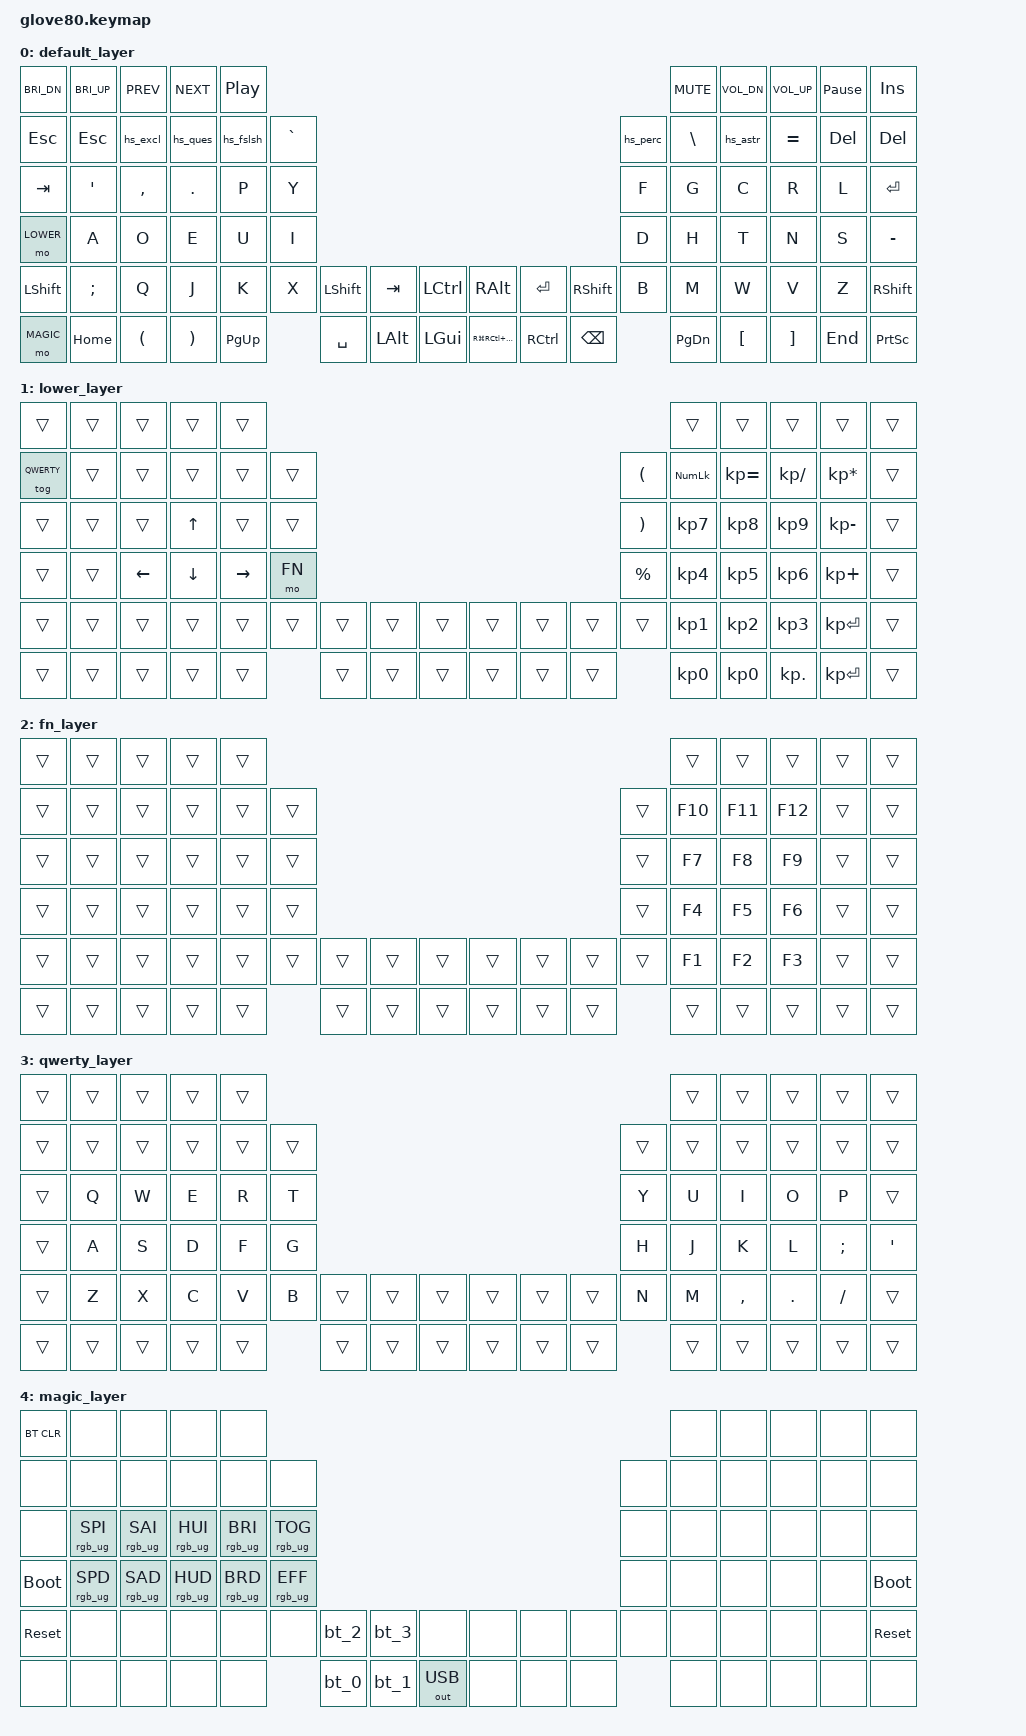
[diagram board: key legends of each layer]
/*
 * Copyright (c) 2020 The ZMK Contributors
 *
 * SPDX-License-Identifier: MIT
 */

#include <behaviors.dtsi>
#include <dt-bindings/zmk/keys.h>
#include <dt-bindings/zmk/bt.h>
#include <dt-bindings/zmk/ext_power.h>
#include <dt-bindings/zmk/outputs.h>
#include <dt-bindings/zmk/rgb.h>

// layers
#define DEFAULT 0
#define LOWER 1
#define FN 2
#define QWERTY 3
#define MAGIC 4

/ {
    behaviors {
        hs_excl: hs_exclamation_at {
            compatible = "zmk,behavior-mod-morph";
            #binding-cells = <0>;
            bindings = <&kp EXCL>, <&kp AT>;
            mods = <(MOD_LSFT|MOD_RSFT)>;
        };
        hs_ques: hs_question_dollar {
            compatible = "zmk,behavior-mod-morph";
            #binding-cells = <0>;
            bindings = <&kp QMARK>, <&kp DLLR>;
            mods = <(MOD_LSFT|MOD_RSFT)>;
        };
        hs_fslsh: hs_fslash_hash {
            compatible = "zmk,behavior-mod-morph";
            #binding-cells = <0>;
            bindings = <&kp FSLH>, <&kp HASH>;
            mods = <(MOD_LSFT|MOD_RSFT)>;
        };
        hs_perc: hs_percent_caret {
            compatible = "zmk,behavior-mod-morph";
            #binding-cells = <0>;
            bindings = <&kp PRCNT>, <&kp CARET>;
            mods = <(MOD_LSFT|MOD_RSFT)>;
        };
        hs_astr: hs_asterisk_ampersand {
            compatible = "zmk,behavior-mod-morph";
            #binding-cells = <0>;
            bindings = <&kp STAR>, <&kp AMPS>;
            mods = <(MOD_LSFT|MOD_RSFT)>;
        };
    };

    macros {
        bt_0: bt_profile_macro_0 {
            compatible = "zmk,behavior-macro";
            #binding-cells = <0>;
            bindings
                = <&out OUT_BLE>,
                  <&bt BT_SEL 0>;
        };

        bt_1: bt_profile_macro_1 {
            compatible = "zmk,behavior-macro";
            #binding-cells = <0>;
            bindings
                = <&out OUT_BLE>,
                  <&bt BT_SEL 1>;
        };

        bt_2: bt_profile_macro_2 {
            compatible = "zmk,behavior-macro";
            #binding-cells = <0>;
            bindings
                = <&out OUT_BLE>,
                  <&bt BT_SEL 2>;
        };

        bt_3: bt_profile_macro_3 {
            compatible = "zmk,behavior-macro";
            #binding-cells = <0>;
            bindings
                = <&out OUT_BLE>,
                  <&bt BT_SEL 3>;
        };
    };

    keymap {
        compatible = "zmk,keymap";

        default_layer {
            // ---------------------------------------------------------------------------------------------------------------------------------
            // | BRDN  | BRUP | PREV | NEXT | PP   |                                                               | MUTE | VLDN | VLUP | PSBK |  INS  |
            // | ESC   | ESC  | ! @  | ? $  | / #  |  `   |                                                 |  % ^ |  \   |  * & |  =   |  DEL |  DEL  |
            // | TAB   |  '   |  ,   |  .   |  P   |  Y   |                                                 |  F   |  G   |  C   |  R   |  L   |  RET  |
            // | LOWER |  A   |  O   |  E   |  U   |  I   |                                                 |  D   |  H   |  T   |  N   |  S   |  -    |
            // | LSHFT |  ;   |  Q   |  J   |  K   |  X   | LSHFT | TAB   | LCTRL | | RALT  | RET   | RSHFT |  B   |  M   |  W   |  V   |  Z   | RSHFT |
            // | MAGIC | HOME |  (   |  )   | PGUP |      | SPACE | LALT  | LGUI  | | HYPER | RCTRL | BSPC  |      | PGDN |  [   |  ]   |  END | PSCRN |

            bindings = <
            &kp C_BRI_DN  &kp C_BRI_UP  &kp C_PREV  &kp C_NEXT  &kp C_PP                                                                                            &kp C_MUTE  &kp C_VOL_DN  &kp C_VOL_UP  &kp PAUSE_BREAK  &kp INS
            &kp ESC       &kp ESC       &hs_excl    &hs_ques    &hs_fslsh  &kp GRAVE                                                                      &hs_perc  &kp BSLH    &hs_astr      &kp EQUAL     &kp DEL          &kp DEL
            &kp TAB       &kp APOS      &kp COMMA   &kp DOT     &kp P      &kp Y                                                                          &kp F     &kp G       &kp C         &kp R         &kp L            &kp RET
            &mo LOWER     &kp A         &kp O       &kp E       &kp U      &kp I                                                                          &kp D     &kp H       &kp T         &kp N         &kp S            &kp MINUS
            &kp LSHFT     &kp SEMI      &kp Q       &kp J       &kp K      &kp X  &kp LSHFT  &kp TAB   &kp LCTRL  &kp RALT          &kp RET    &kp RSHFT  &kp B     &kp M       &kp W         &kp V         &kp Z            &kp RSHFT
            &mo MAGIC     &kp HOME      &kp LPAR    &kp RPAR    &kp PG_UP         &kp SPACE  &kp LALT  &kp LGUI   &kp RG(RC(RALT))  &kp RCTRL  &kp BSPC             &kp PG_DN   &kp LBKT      &kp RBKT      &kp END          &kp PSCRN
            >;
        };

        lower_layer {
            bindings = <
            &trans       &trans  &trans    &trans    &trans                                                                        &trans      &trans        &trans         &trans           &trans
            &tog QWERTY  &trans  &trans    &trans    &trans     &trans                                                  &kp LPAR   &kp KP_NUM  &kp KP_EQUAL  &kp KP_DIVIDE  &kp KP_MULTIPLY  &trans
            &trans       &trans  &trans    &kp UP    &trans     &trans                                                  &kp RPAR   &kp KP_N7   &kp KP_N8     &kp KP_N9      &kp KP_MINUS     &trans
            &trans       &trans  &kp LEFT  &kp DOWN  &kp RIGHT  &mo FN                                                  &kp PRCNT  &kp KP_N4   &kp KP_N5     &kp KP_N6      &kp KP_PLUS      &trans
            &trans       &trans  &trans    &trans    &trans     &trans  &trans  &trans  &trans  &trans  &trans  &trans  &trans     &kp KP_N1   &kp KP_N2     &kp KP_N3      &kp KP_ENTER     &trans
            &trans       &trans  &trans    &trans    &trans             &trans  &trans  &trans  &trans  &trans  &trans             &kp KP_N0   &kp KP_N0     &kp KP_DOT     &kp KP_ENTER     &trans
            >;
        };

        fn_layer {
            bindings = <
            &trans  &trans  &trans  &trans  &trans                                                                  &trans   &trans   &trans   &trans  &trans
            &trans  &trans  &trans  &trans  &trans  &trans                                                  &trans  &kp F10  &kp F11  &kp F12  &trans  &trans
            &trans  &trans  &trans  &trans  &trans  &trans                                                  &trans  &kp F7   &kp F8   &kp F9   &trans  &trans
            &trans  &trans  &trans  &trans  &trans  &trans                                                  &trans  &kp F4   &kp F5   &kp F6   &trans  &trans
            &trans  &trans  &trans  &trans  &trans  &trans  &trans  &trans  &trans  &trans  &trans  &trans  &trans  &kp F1   &kp F2   &kp F3   &trans  &trans
            &trans  &trans  &trans  &trans  &trans          &trans  &trans  &trans  &trans  &trans  &trans          &trans   &trans   &trans   &trans  &trans
            >;
        };

        qwerty_layer {
            bindings = <
            &trans  &trans  &trans  &trans  &trans                                                                  &trans   &trans     &trans   &trans     &trans
            &trans  &trans  &trans  &trans  &trans  &trans                                                  &trans  &trans   &trans     &trans   &trans     &trans
            &trans  &kp Q   &kp W   &kp E   &kp R   &kp T                                                   &kp Y   &kp U    &kp I      &kp O    &kp P      &trans
            &trans  &kp A   &kp S   &kp D   &kp F   &kp G                                                   &kp H   &kp J    &kp K      &kp L    &kp SEMI   &kp APOS
            &trans  &kp Z   &kp X   &kp C   &kp V   &kp B   &trans  &trans  &trans  &trans  &trans  &trans  &kp N   &kp M    &kp COMMA  &kp DOT  &kp SLASH  &trans
            &trans  &trans  &trans  &trans  &trans          &trans  &trans  &trans  &trans  &trans  &trans          &trans   &trans     &trans   &trans     &trans
            >;
        };

        magic_layer {
            bindings = <
            &bt BT_CLR        &none               &none           &none           &none                                                                                                           &none      &none      &none      &none      &none
            &none             &none               &none           &none           &none           &none                                                                                &none      &none      &none      &none      &none      &none
            &none             &rgb_ug RGB_SPI     &rgb_ug RGB_SAI &rgb_ug RGB_HUI &rgb_ug RGB_BRI &rgb_ug RGB_TOG                                                                      &none      &none      &none      &none      &none      &none
            &bootloader       &rgb_ug RGB_SPD     &rgb_ug RGB_SAD &rgb_ug RGB_HUD &rgb_ug RGB_BRD &rgb_ug RGB_EFF                                                                      &none      &none      &none      &none      &none      &bootloader
            &sys_reset        &none               &none           &none           &none           &none           &bt_2     &bt_3     &none            &none     &none     &none       &none      &none      &none      &none      &none      &sys_reset
            &none             &none               &none           &none           &none                           &bt_0     &bt_1     &out OUT_USB     &none     &none     &none                  &none      &none      &none      &none      &none
            >;
        };
    };
};
